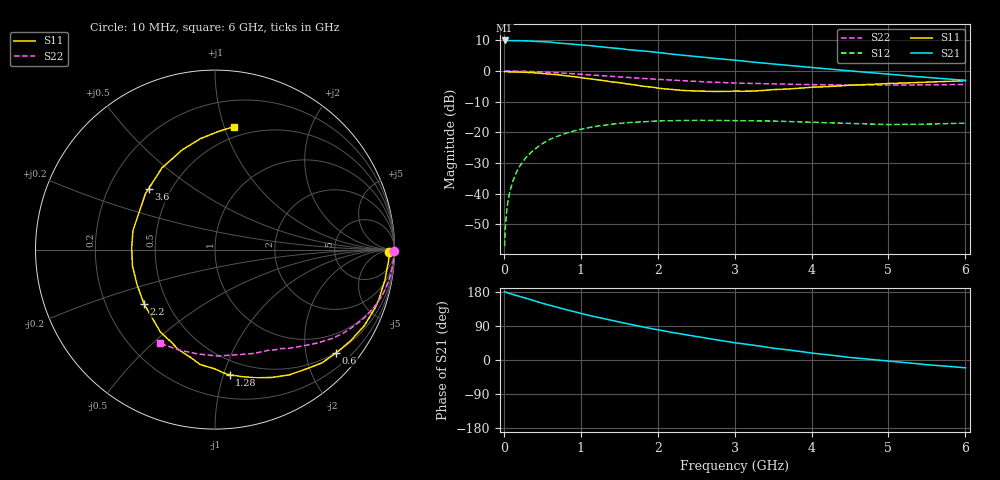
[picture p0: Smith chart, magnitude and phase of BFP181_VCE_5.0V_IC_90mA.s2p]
! Infineon Technologies  Discrete & RF Semiconductors
! BFP181
! VCE = 5.0 V,  IC =  90 mA
! Common Emitter S-Parameters:  Jan 2016
# GHz  S  MA  R  50
!  f  S11  S21  S12  S22
! GHz  MAG  ANG  MAG  ANG  MAG  ANG  MAG  ANG
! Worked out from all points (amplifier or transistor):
!   210 points, 10 MHz to 6 GHz, reference 50 ohm
!   highest |S21| = 9.9 dB at 10 MHz (marker M1)
!   |S21| within 3 dB of that: start of sweep to 1.615 GHz
!   unconditionally stable (mu >= 1): 3.194 GHz to end of sweep
!   at 185 MHz: K = 0.07, MSG = 20.9 dB, |S12| = -32.0 dB
!   at 1.52 GHz: K = 0.50, MSG = 12.2 dB, |S12| = -17.1 dB
!   at 6 GHz: K = 1.31, MAG = 3.7 dB, |S12| = -17.0 dB
!   S11 on the Smith chart (normalised r, x): 10 MHz: 55, -25; 600 MHz: 0.49, -2.64; 1.28 GHz: 0.38, -1.05; 2.2 GHz: 0.37, -0.30; 3.6 GHz: 0.38, +0.34; 6 GHz: 0.41, +1.08
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0.01  0.9704 -0.8  3.137 179.6  0.0014 89.8  0.9984 -0.3
0.025  0.9714 -1.7  3.127 179.0  0.0035 91.3  0.9954 -0.8
0.05  0.97 -3.3  3.121 177.0  0.007 90.8  0.9968 -1.7
0.09  0.964 -6.3  3.115 174.7  0.0123 86.0  0.9963 -2.9
0.15  0.9622 -10.2  3.096 171.0  0.0205 82.8  0.994 -4.8
0.32  0.9446 -21.6  3.072 161.1  0.0429 75.2  0.9823 -10.1
0.48  0.9141 -32.5  3.003 150.9  0.0627 68.1  0.9664 -15.0
0.6  0.8874 -40.4  2.958 144.3  0.0768 63.3  0.9505 -18.5
0.8  0.8361 -52.8  2.805 133.5  0.096 55.4  0.9182 -23.9
1.02  0.773 -67.2  2.64 122.2  0.1135 47.1  0.8804 -29.3
1.1  0.7502 -72.2  2.607 118.0  0.1194 44.3  0.8662 -31.1
1.28  0.7014 -83.3  2.459 110.0  0.1296 38.6  0.8368 -35.0
1.5  0.6457 -97.4  2.324 100.1  0.1392 32.5  0.7989 -39.2
1.8  0.565 -116.9  2.122 87.4  0.1491 25.5  0.7563 -44.1
2.02  0.5229 -130.7  1.987 79.1  0.1533 20.8  0.7273 -47.4
2.2  0.4981 -142.5  1.869 72.2  0.1558 17.0  0.7071 -50.3
2.8  0.4644 178.6  1.582 52.0  0.1564 7.8  0.6508 -59.0
3.1  0.4669 161.6  1.453 43.1  0.1547 4.1  0.6309 -63.5
3.6  0.5017 137.5  1.265 29.0  0.1513 -0.3  0.6123 -71.3
4.1  0.5481 119.8  1.111 16.3  0.1446 -3.1  0.5957 -80.5
5.1  0.6293 95.5  0.862 -4.7  0.1343 -3.3  0.5886 -101.0
6  0.6937 81.2  0.704 -20.6  0.1412 0.1  0.6051 -120.3
